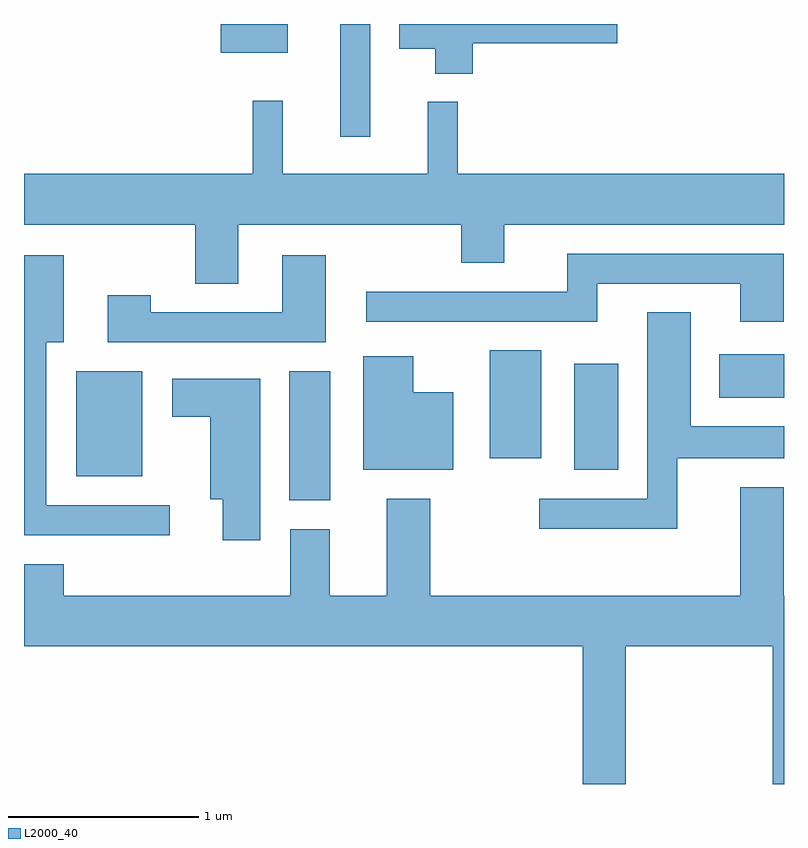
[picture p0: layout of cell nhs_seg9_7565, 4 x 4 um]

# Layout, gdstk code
import gdstk
lib = gdstk.Library(unit=1e-6, precision=1e-09)
def R(c, l, rs):  # rectangles x0, y0, x1, y1
    for r in rs: c.add(gdstk.rectangle(r[:2], r[2:], *l))
def P(c, l, *ps):  # polygons
    for p in ps: c.add(gdstk.Polygon(p, *l))
L2000_40 = (2000, 40)

nhs_seg9_7565 = lib.new_cell('nhs_seg9_7565')
R(nhs_seg9_7565, L2000_40, [(411.006,1985.926,411.224,1986.604), (409.886,1986.051,410.234,1986.604), (412.506,1986.086,412.739,1986.644), (412.061,1986.146,412.334,1986.714), (413.271,1986.466,413.611,1986.694), (411.276,1987.838,411.434,1988.432), (410.646,1988.281,410.999,1988.432)])
P(nhs_seg9_7565, L2000_40, [(411.974,1988.331),(412.734,1988.331),(412.734,1988.432),(411.586,1988.432),(411.586,1988.301),(411.776,1988.301),(411.776,1988.171),(411.974,1988.171)],
  [(410.739,1987.376),(411.911,1987.376),(411.911,1987.176),(412.139,1987.176),(412.139,1987.376),(413.611,1987.376),(413.611,1987.644),(411.894,1987.644),(411.894,1988.023),(411.736,1988.023),(411.736,1987.644),(410.974,1987.644),(410.974,1988.028),(410.816,1988.028),(410.816,1987.644),(409.611,1987.644),(409.611,1987.376),(410.511,1987.376),(410.511,1987.066),(410.739,1987.066)],
  [(412.629,1987.066),(413.381,1987.066),(413.381,1986.866),(413.609,1986.866),(413.609,1987.224),(412.471,1987.224),(412.471,1987.024),(411.413,1987.024),(411.413,1986.866),(412.629,1986.866)],
  [(411.199,1987.214),(410.971,1987.214),(410.971,1986.914),(410.279,1986.914),(410.279,1987.004),(410.051,1987.004),(410.051,1986.756),(411.199,1986.756)],
  [(410.378,1985.899),(409.729,1985.899),(409.729,1986.756),(409.819,1986.756),(409.819,1987.214),(409.611,1987.214),(409.611,1985.741),(410.378,1985.741)],
  [(413.049,1986.146),(413.611,1986.146),(413.611,1986.314),(413.119,1986.314),(413.119,1986.914),(412.891,1986.914),(412.891,1985.934),(412.323,1985.934),(412.323,1985.776),(413.049,1985.776)],
  [(411.869,1986.494),(411.659,1986.494),(411.659,1986.684),(411.396,1986.684),(411.396,1986.086),(411.869,1986.086)],
  [(410.854,1986.564),(410.391,1986.564),(410.391,1986.366),(410.591,1986.366),(410.591,1985.931),(410.656,1985.931),(410.656,1985.716),(410.854,1985.716)],
  [(412.779,1985.156),(413.551,1985.156),(413.551,1984.432),(413.611,1984.432),(413.611,1985.424),(413.609,1985.424),(413.609,1985.994),(413.381,1985.994),(413.381,1985.424),(411.749,1985.424),(411.749,1985.934),(411.521,1985.934),(411.521,1985.424),(411.219,1985.424),(411.219,1985.774),(411.011,1985.774),(411.011,1985.424),(409.819,1985.424),(409.819,1985.589),(409.611,1985.589),(409.611,1985.156),(412.551,1985.156),(412.551,1984.432),(412.779,1984.432)])

lib.write_gds('nhs_seg9_7565.gds')
